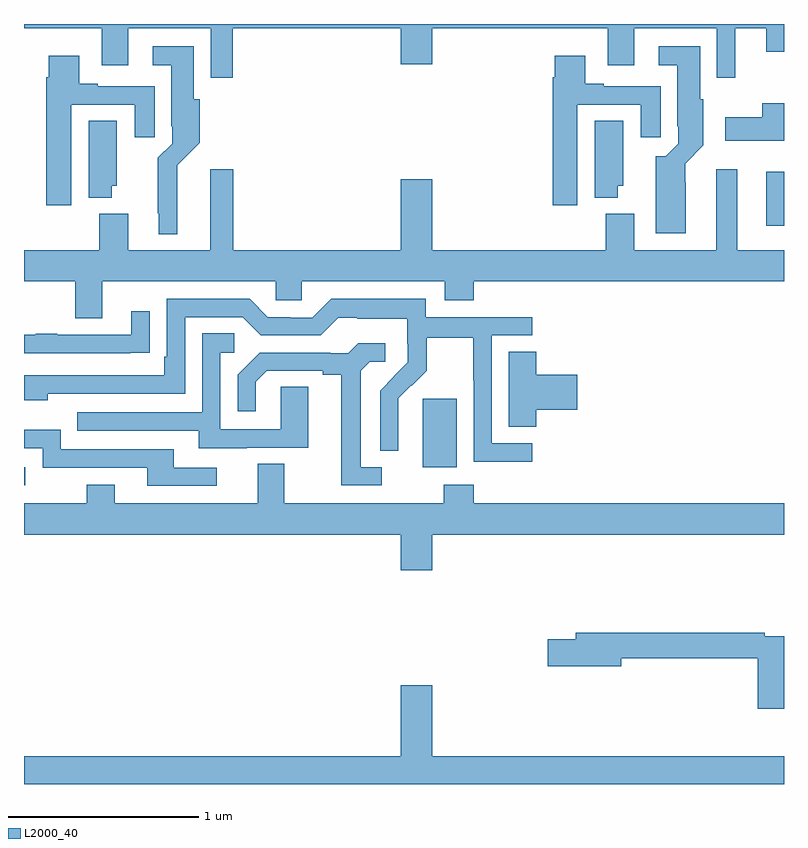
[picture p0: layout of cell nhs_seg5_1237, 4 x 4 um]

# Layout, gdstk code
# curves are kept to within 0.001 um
import gdstk
lib = gdstk.Library(unit=1e-6, precision=1e-09)
def R(c, l, rs):  # rectangles x0, y0, x1, y1
    for r in rs: c.add(gdstk.rectangle(r[:2], r[2:], *l))
def P(c, l, *ps):  # polygons
    for p in ps: c.add(gdstk.Polygon(p, *l))
L2000_40 = (2000, 40)

nhs_seg5_1237 = lib.new_cell('nhs_seg5_1237')
R(nhs_seg5_1237, L2000_40, [(187,838.371,187.006,838.467), (189.098,838.466,189.277,838.827), (190.907,839.736,191,840.022)])
P(nhs_seg5_1237, L2000_40, [(188.099,840.776),(188.984,840.776),(188.984,840.588),(189.148,840.588),(189.148,840.776),(190.073,840.776),(190.073,840.582),(190.213,840.582),(190.213,840.776),(190.647,840.776),(190.647,840.516),(190.744,840.516),(190.744,840.776),(190.907,840.776),(190.907,840.652),(191,840.652),(191,840.799),(187,840.799),(187,840.776),(187.409,840.776),(187.409,840.582),(187.549,840.582),(187.549,840.776),(187.983,840.776),(187.983,840.516),(188.099,840.516)],
  [(190.483,839.966),(190.479,839.966),(190.479,840.064),(190.576,840.161),(190.576,840.402),(190.558,840.402),(190.558,840.682),(190.341,840.682),(190.341,840.581),(190.439,840.581),(190.439,840.262),(190.443,840.262),(190.443,840.168),(190.377,840.102),(190.325,840.102),(190.325,839.699),(190.483,839.699)],
  [(187.807,840.056),(187.925,840.174),(187.925,840.402),(187.894,840.402),(187.894,840.682),(187.677,840.682),(187.677,840.581),(187.775,840.581),(187.775,840.262),(187.779,840.262),(187.779,840.168),(187.705,840.094),(187.705,839.803),(187.709,839.803),(187.709,839.693),(187.807,839.693)],
  [(187.249,840.375),(187.583,840.375),(187.583,840.204),(187.687,840.204),(187.687,840.471),(187.387,840.471),(187.387,840.484),(187.291,840.484),(187.291,840.631),(187.13,840.631),(187.13,840.518),(187.118,840.518),(187.118,839.844),(187.249,839.844)],
  [(189.913,840.375),(190.247,840.375),(190.247,840.204),(190.351,840.204),(190.351,840.471),(190.051,840.471),(190.051,840.484),(189.955,840.484),(189.955,840.631),(189.794,840.631),(189.794,840.518),(189.782,840.518),(189.782,839.844),(189.913,839.844)],
  [(191,840.382),(190.885,840.382),(190.885,840.307),(190.692,840.307),(190.692,840.185),(191,840.185)],
  [(187.462,839.949),(187.489,839.949),(187.489,840.29),(187.34,840.29),(187.34,839.885),(187.462,839.885)],
  [(190.126,839.949),(190.153,839.949),(190.153,840.29),(190.004,840.29),(190.004,839.885),(190.126,839.885)],
  [(188.325,839.346),(188.463,839.346),(188.463,839.444),(189.215,839.444),(189.215,839.345),(189.368,839.345),(189.368,839.444),(191,839.444),(191,839.608),(190.753,839.608),(190.753,840.034),(190.643,840.034),(190.643,839.608),(190.213,839.608),(190.213,839.8),(190.061,839.8),(190.061,839.608),(189.148,839.608),(189.148,839.983),(188.984,839.983),(188.984,839.608),(188.102,839.608),(188.102,840.034),(187.979,840.034),(187.979,839.608),(187.549,839.608),(187.549,839.8),(187.397,839.8),(187.397,839.608),(187,839.608),(187,839.444),(187.271,839.444),(187.271,839.25),(187.411,839.25),(187.411,839.444),(188.325,839.444)],
  [(189.676,838.593),(189.462,838.593),(189.462,839.16),(189.676,839.16),(189.676,839.256),(189.114,839.256),(189.114,839.353),(188.617,839.353),(188.517,839.253),(188.402,839.253),(188.402,839.256),(188.283,839.256),(188.187,839.352),(187.752,839.352),(187.752,839.047),(187.739,839.047),(187.739,838.95),(187,838.95),(187,838.82),(187.124,838.82),(187.124,838.854),(187.848,838.854),(187.848,839.256),(188.151,839.256),(188.247,839.16),(188.562,839.16),(188.655,839.253),(188.755,839.253),(188.755,839.249),(189.018,839.249),(189.018,839.115),(189.02,839.115),(189.02,839.018),(188.874,838.87),(188.874,838.552),(188.97,838.552),(188.969,838.829),(189.039,838.899),(189.042,838.896),(189.119,838.973),(189.119,839.148),(189.364,839.148),(189.364,838.924),(189.366,838.924),(189.366,838.495),(189.676,838.495)],
  [(187.559,839.068),(187.661,839.068),(187.661,839.287),(187.565,839.287),(187.565,839.163),(187.175,839.163),(187.175,839.168),(187.063,839.168),(187.063,839.163),(187,839.163),(187,839.067),(187.559,839.067)],
  [(188.173,838.569),(188.497,838.569),(188.497,838.889),(188.352,838.889),(188.352,838.665),(188.034,838.665),(188.034,839.07),(188.107,839.07),(188.107,839.171),(187.938,839.171),(187.938,838.755),(187.279,838.755),(187.279,838.659),(187.919,838.659),(187.919,838.565),(188.173,838.565)],
  [(188.884,838.467),(188.773,838.467),(188.773,838.975),(188.82,839.022),(188.902,839.022),(188.902,839.119),(188.758,839.119),(188.706,839.067),(188.612,839.067),(188.612,839.07),(188.24,839.07),(188.124,838.954),(188.124,838.761),(188.221,838.761),(188.221,838.917),(188.278,838.974),(188.573,838.974),(188.573,838.952),(188.669,838.952),(188.669,838.371),(188.884,838.371)],
  [(189.695,838.769),(189.913,838.769),(189.913,838.952),(189.695,838.952),(189.695,839.075),(189.551,839.075),(189.551,838.678),(189.695,838.678)],
  [(188.014,838.464),(187.789,838.464),(187.789,838.56),(187.194,838.56),(187.194,838.663),(187,838.663),(187,838.566),(187.098,838.566),(187.098,838.464),(187.649,838.464),(187.649,838.368),(188.014,838.368)],
  [(189.148,838.112),(191,838.112),(191,838.276),(189.368,838.276),(189.368,838.375),(189.208,838.375),(189.208,838.276),(188.371,838.276),(188.371,838.484),(188.231,838.484),(188.231,838.276),(187.477,838.276),(187.477,838.375),(187.33,838.375),(187.33,838.276),(187,838.276),(187,838.112),(188.984,838.112),(188.984,837.924),(189.148,837.924)],
  [(191,837.576),(190.898,837.576),(190.898,837.596),(189.905,837.596),(189.905,837.56),(189.756,837.56),(189.756,837.418),(190.144,837.418),(190.144,837.46),(190.862,837.46),(190.862,837.195),(191,837.195)],
  [(191,836.944),(189.148,836.944),(189.148,837.319),(188.984,837.319),(188.984,836.944),(187,836.944),(187,836.799),(191,836.799)])

lib.write_gds('nhs_seg5_1237.gds')
